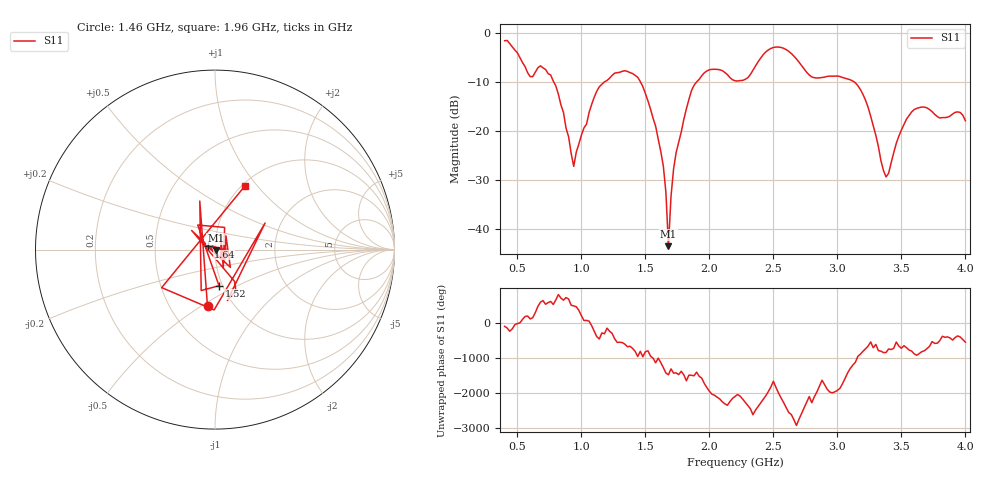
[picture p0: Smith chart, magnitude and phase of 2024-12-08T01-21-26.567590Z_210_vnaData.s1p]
!Created with skrf (http://scikit-rf.org).
# Hz S RI R 50.0
!freq ReS11 ImS11
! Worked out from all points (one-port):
!   181 points, 400 MHz to 4 GHz, reference 50 ohm
!   lowest |S11| = -43.4 dB at 1.68 GHz (marker M1), VSWR 1.01, Z = 50.5 - j0.502 ohm
!   |S11| at or under -10 dB: 783.7 MHz to 1.18 GHz (395.9 MHz wide, 40.3 % of centre); 1.461 GHz to 1.9 GHz (438.8 MHz wide, 26.1 % of centre); 3.131 GHz to end of sweep
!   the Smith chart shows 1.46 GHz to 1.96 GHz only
!   S11 on the Smith chart (normalised r, x): 1.46 GHz: 0.76, -0.53; 1.52 GHz: 0.96, -0.40; 1.64 GHz: 0.92, +0.03; 1.96 GHz: 1.03, +0.86
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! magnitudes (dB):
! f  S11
! 400 MHz  -1.6
! 600 MHz  -8.9
! 680 MHz  -6.7
! 760 MHz  -8.6
! 860 MHz  -16.2
! 940 MHz  -27.2
! 1.12 GHz  -11.9
! 1.3 GHz  -8.0
! 1.46 GHz  -9.9
! 1.52 GHz  -13.9
! 1.64 GHz  -27.1
! 1.66 GHz  -32.4
! 1.68 GHz  -43.4
! 1.7 GHz  -33.3
! 1.72 GHz  -27.7
! 1.76 GHz  -22.3
! 1.86 GHz  -11.8
! 1.96 GHz  -8.1
! 2.2 GHz  -9.8
! 2.48 GHz  -3.2
! 2.66 GHz  -4.7
! 2.8 GHz  -9.0
! 3.1 GHz  -9.6
! 3.22 GHz  -13.7
! 3.38 GHz  -29.3
! 3.56 GHz  -16.8
! 3.68 GHz  -15.1
! 4 GHz  -17.9
